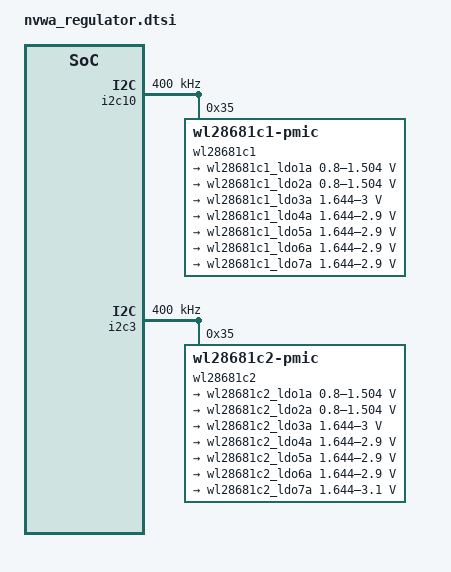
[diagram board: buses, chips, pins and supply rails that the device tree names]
// SPDX-License-Identifier: GPL-2.0
/*
 * Copyright (C) 2021 MediaTek Inc.
 */

&pio {
//u7101
	wl28681c1_default: state_default_a {
		pins_cmd_dat {
			pinmux = <PINMUX_GPIO112__FUNC_GPIO112>;
		};
	};
	// GPIO90 pull up to enable dvdd supply
	wl28681c1_reset_high: state_reset_high_a {
		pins_cmd_dat {
			pinmux = <PINMUX_GPIO112__FUNC_GPIO112>,
			<PINMUX_GPIO93__FUNC_GPIO93>,
			<PINMUX_GPIO92__FUNC_GPIO92>;
			slew-rate = <1>;
			output-high;
		};
	};
	wl28681c1_reset_low: state_reset_low_a {
		pins_cmd_dat {
			pinmux = <PINMUX_GPIO112__FUNC_GPIO112>;
			slew-rate = <1>;
			output-low;
		};
	};

//u7102
	wl28681c2_default: state_default_a2 {
		pins_cmd_dat {
			pinmux = <PINMUX_GPIO111__FUNC_GPIO111>;
		};
	};
	// GPIO90 pull up to enable dvdd supply
	wl28681c2_reset_high: state_reset_high_a2 {
		pins_cmd_dat {
			pinmux = <PINMUX_GPIO111__FUNC_GPIO111>;
			slew-rate = <1>;
			output-high;
		};
	};
	wl28681c2_reset_low: state_reset_low_a2 {
		pins_cmd_dat {
			pinmux = <PINMUX_GPIO111__FUNC_GPIO111>;
			slew-rate = <1>;
			output-low;
		};
	};
};

//u7101
&i2c10 {
	clock-frequency = <400000>;
	wl28681c1@35 {
		compatible = "wl28681c1-pmic";
		reg = <0x35>;
		pinctrl-names = "default", "reset_high", "reset_low";
		pinctrl-0 = <&wl28681c1_default>;
		pinctrl-1 = <&wl28681c1_reset_high>;
		pinctrl-2 = <&wl28681c1_reset_low>;
		regulators {
			wl28681c1_ldo1a:ONLDO1 {
				regulator-name = "wl28681c1_ldo1a";
				regulator-min-microvolt = <800000>;
				regulator-max-microvolt = <1504000>;
			};
			//dvdd 1.1
			wl28681c1_ldo2a:ONLDO2 {
				regulator-name = "wl28681c1_ldo2a";
				regulator-min-microvolt = <800000>;
				regulator-max-microvolt = <1504000>;
			};
			//front avdd 2.9
			wl28681c1_ldo3a:ONLDO3 {
				regulator-name = "wl28681c1_ldo3a";
				regulator-min-microvolt = <1644000>;
				regulator-max-microvolt = <3000000>;
			};
			//avdd 2.8
			wl28681c1_ldo4a:ONLDO4 {
				regulator-name = "wl28681c1_ldo4a";
				regulator-min-microvolt = <1644000>;
				regulator-max-microvolt = <2900000>;
			};
			//avdd 1.8
			wl28681c1_ldo5a:ONLDO5 {
				regulator-name = "wl28681c1_ldo5a";
				regulator-min-microvolt = <1644000>;
				regulator-max-microvolt = <2900000>;
			};
			//iovdd 1.8
			wl28681c1_ldo6a:ONLDO6 {
				regulator-name = "wl28681c1_ldo6a";
				regulator-min-microvolt = <1644000>;
				regulator-max-microvolt = <2900000>;
			};
			wl28681c1_ldo7a:ONLDO7 {
				regulator-name = "wl28681c1_ldo7a";
				regulator-min-microvolt = <1644000>;
				regulator-max-microvolt = <2900000>;
			};
		};
	};
};

//u7102
&i2c3 {
	clock-frequency = <400000>;
	wl28681c2@35 {
		compatible = "wl28681c2-pmic";
		reg = <0x35>;
		pinctrl-names = "default", "reset_high", "reset_low";
		pinctrl-0 = <&wl28681c2_default>;
		pinctrl-1 = <&wl28681c2_reset_high>;
		pinctrl-2 = <&wl28681c2_reset_low>;
		regulators {
			wl28681c2_ldo1a:ONLDO1 {
				regulator-name = "wl28681c2_ldo1a";
				regulator-min-microvolt = <800000>;
				regulator-max-microvolt = <1504000>;
			};
			wl28681c2_ldo2a:ONLDO2 {
				regulator-name = "wl28681c2_ldo2a";
				regulator-min-microvolt = <800000>;
				regulator-max-microvolt = <1504000>;
			};
			//avdd 2.8
			wl28681c2_ldo3a:ONLDO3 {
				regulator-name = "wl28681c2_ldo3a";
				regulator-min-microvolt = <1644000>;
				regulator-max-microvolt = <3000000>;
			};
			wl28681c2_ldo4a:ONLDO4 {
				regulator-name = "wl28681c2_ldo4a";
				regulator-min-microvolt = <1644000>;
				regulator-max-microvolt = <2900000>;
			};
			//
			wl28681c2_ldo5a:ONLDO5 {
				regulator-name = "wl28681c2_ldo5a";
				regulator-min-microvolt = <1644000>;
				regulator-max-microvolt = <2900000>;
			};
			wl28681c2_ldo6a:ONLDO6 {
				regulator-name = "wl28681c2_ldo6a";
				regulator-min-microvolt = <1644000>;
				regulator-max-microvolt = <2900000>;
			};
			wl28681c2_ldo7a:ONLDO7 {
				regulator-name = "wl28681c2_ldo7a";
				regulator-min-microvolt = <1644000>;
				regulator-max-microvolt = <3100000>;
			};
		};
	};
};



